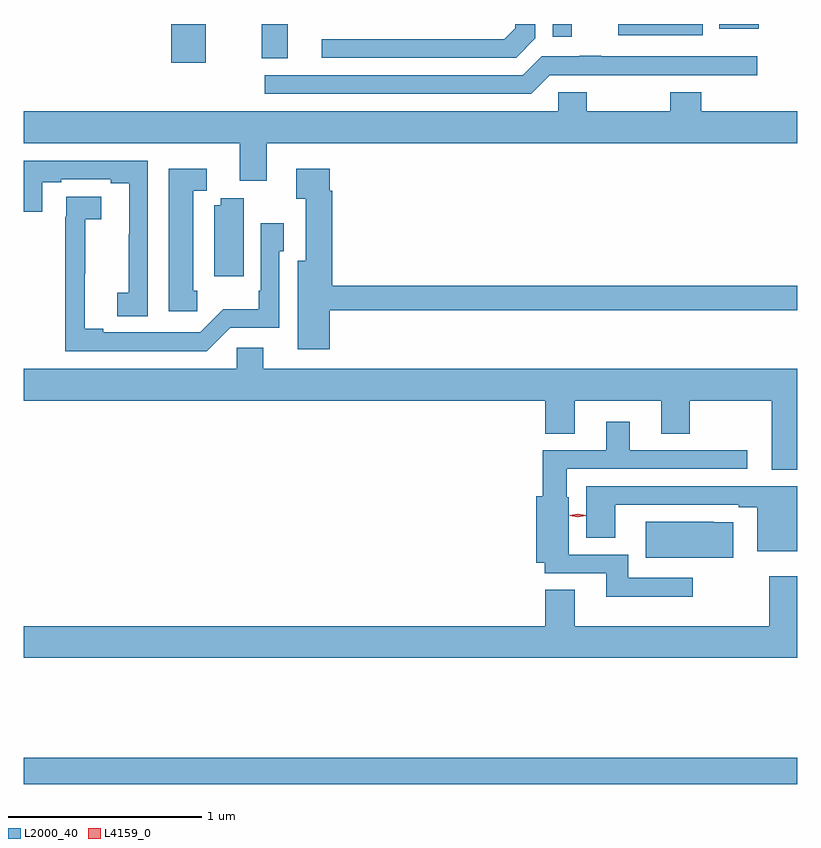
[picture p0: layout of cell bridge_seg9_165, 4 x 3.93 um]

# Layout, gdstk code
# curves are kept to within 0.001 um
import gdstk
lib = gdstk.Library(unit=1e-6, precision=1e-09)
def R(c, l, rs):  # rectangles x0, y0, x1, y1
    for r in rs: c.add(gdstk.rectangle(r[:2], r[2:], *l))
def P(c, l, *ps):  # polygons
    for p in ps: c.add(gdstk.Polygon(p, *l))
L2000_40 = (2000, 40)
L4159_0 = (4159, 0)

bridge_seg9_165 = lib.new_cell('bridge_seg9_165')
R(bridge_seg9_165, L2000_40, [(265.801,1231.732,269.801,1231.868), (266.564,1235.463,266.742,1235.664), (267.031,1235.487,267.166,1235.664), (268.536,1235.598,268.635,1235.664), (268.875,1235.606,269.314,1235.664), (269.399,1235.639,269.602,1235.664)])
P(bridge_seg9_165, L2000_40, [(268.447,1235.59),(268.447,1235.664),(268.344,1235.664),(268.344,1235.643),(268.287,1235.586),(267.342,1235.586),(267.342,1235.49),(268.347,1235.49)],
  [(268.521,1235.4),(269.596,1235.4),(269.596,1235.496),(268.787,1235.496),(268.787,1235.501),(268.676,1235.501),(268.676,1235.496),(268.479,1235.496),(268.383,1235.4),(267.048,1235.4),(267.048,1235.304),(268.425,1235.304)],
  [(267.058,1235.048),(269.801,1235.048),(269.801,1235.212),(269.306,1235.212),(269.306,1235.311),(269.146,1235.311),(269.146,1235.212),(268.713,1235.212),(268.713,1235.31),(268.566,1235.31),(268.566,1235.212),(265.801,1235.212),(265.801,1235.048),(266.918,1235.048),(266.918,1234.854),(267.058,1234.854)],
  [(266.442,1234.956),(265.801,1234.956),(265.801,1234.693),(265.896,1234.693),(265.896,1234.846),(265.993,1234.846),(265.993,1234.86),(266.249,1234.86),(266.249,1234.84),(266.345,1234.84),(266.345,1234.577),(266.344,1234.577),(266.344,1234.273),(266.283,1234.273),(266.283,1234.153),(266.442,1234.153)],
  [(267.382,1234.182),(269.801,1234.182),(269.801,1234.31),(267.395,1234.31),(267.395,1234.802),(267.382,1234.802),(267.382,1234.915),(267.21,1234.915),(267.21,1234.759),(267.26,1234.759),(267.26,1234.438),(267.218,1234.438),(267.218,1233.981),(267.382,1233.981)],
  [(266.699,1234.284),(266.677,1234.284),(266.677,1234.8),(266.746,1234.8),(266.746,1234.915),(266.549,1234.915),(266.549,1234.179),(266.699,1234.179)],
  [(266.868,1234.092),(267.123,1234.092),(267.123,1234.488),(267.144,1234.488),(267.144,1234.633),(267.027,1234.633),(267.027,1234.285),(267.015,1234.285),(267.015,1234.189),(266.833,1234.189),(266.712,1234.068),(266.212,1234.068),(266.212,1234.088),(266.116,1234.088),(266.118,1234.654),(266.2,1234.654),(266.2,1234.769),(266.02,1234.769),(266.02,1234.667),(266.014,1234.667),(266.014,1233.972),(266.748,1233.972)],
  [(266.938,1234.763),(266.818,1234.763),(266.818,1234.726),(266.786,1234.726),(266.786,1234.359),(266.938,1234.359)],
  [(269.801,1233.88),(267.04,1233.88),(267.04,1233.99),(266.901,1233.99),(266.901,1233.88),(265.801,1233.88),(265.801,1233.716),(268.499,1233.716),(268.499,1233.544),(268.651,1233.544),(268.651,1233.716),(269.099,1233.716),(269.099,1233.544),(269.247,1233.544),(269.247,1233.716),(269.669,1233.716),(269.669,1233.359),(269.801,1233.359)],
  [(269.26,1232.799),(268.927,1232.799),(268.927,1232.919),(268.621,1232.919),(268.621,1233.216),(268.609,1233.216),(268.609,1233.363),(269.542,1233.363),(269.542,1233.459),(268.936,1233.459),(268.936,1233.607),(268.814,1233.607),(268.814,1233.459),(268.484,1233.459),(268.484,1233.22),(268.451,1233.22),(268.451,1232.876),(268.496,1232.876),(268.496,1232.823),(268.814,1232.823),(268.814,1232.702),(269.26,1232.702)],
  [(269.801,1233.273),(268.709,1233.273),(268.709,1233.006),(268.861,1233.006),(268.861,1233.177),(269.498,1233.177),(269.498,1233.164),(269.594,1233.164),(269.594,1232.936),(269.801,1232.936)],
  [(269.472,1233.087),(269.369,1233.087),(269.369,1233.088),(269.018,1233.088),(269.018,1232.903),(269.472,1232.903)],
  [(269.801,1232.806),(269.657,1232.806),(269.657,1232.548),(268.651,1232.548),(268.651,1232.738),(268.499,1232.738),(268.499,1232.548),(265.801,1232.548),(265.801,1232.384),(269.801,1232.384)])
P(bridge_seg9_165, L4159_0, [(268.666,1233.111),(268.625,1233.121),(268.625,1233.121),(268.625,1233.122),(268.666,1233.131),(268.707,1233.122),(268.707,1233.121),(268.707,1233.121)])

lib.write_gds('bridge_seg9_165.gds')
